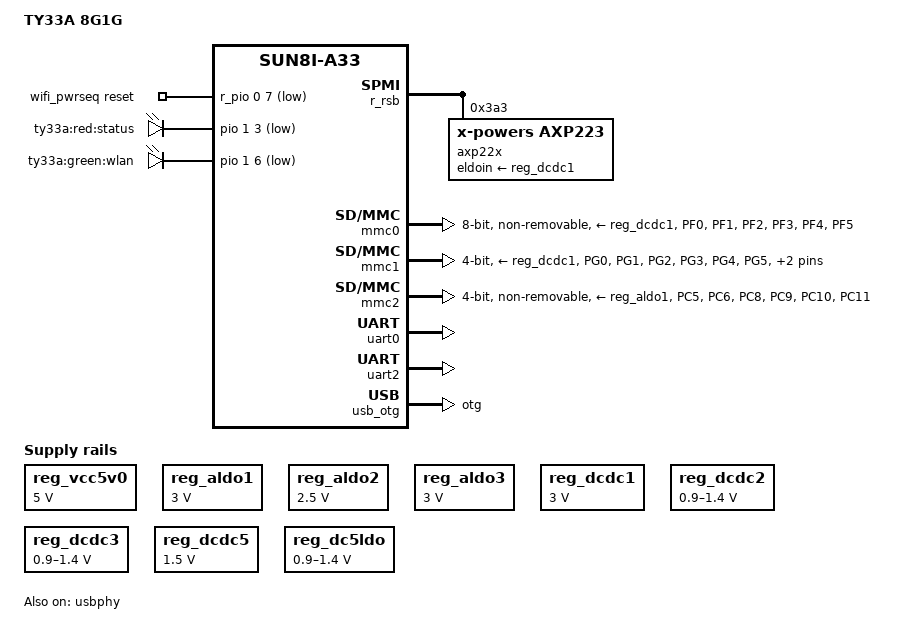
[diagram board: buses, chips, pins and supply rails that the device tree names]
/dts-v1/;
#include "sun8i-a33.dtsi"
#include <dt-bindings/gpio/gpio.h>

/ {
	model = "TY33A 8G1G";
	compatible = "sinovoip,bananapi-m2m", "allwinner,sun8i-a33";

	aliases {
		serial0 = &uart0;
		serial1 = &uart1;
		serial2 = &uart2;

		i2c0 = &i2c0;
		i2c1 = &i2c1;
		i2c2 = &i2c2;
	};

	chosen { stdout-path = "serial0:115200n8"; };

	/* 5‑V rail for USB‑A port */
	reg_vcc5v0: vcc5v0 {
		compatible = "regulator-fixed";
		regulator-name = "vcc5v0";
		regulator-min-microvolt = <5000000>;
		regulator-max-microvolt = <5000000>;
		regulator-always-on;
	};

	/* Wi‑Fi / BT reset (PL7) */
	wifi_pwrseq: wifi_pwrseq {
		compatible = "mmc-pwrseq-simple";
		reset-gpios = <&r_pio 0 7 GPIO_ACTIVE_LOW>; /* PL7 */
		post-power-on-delay-ms = <200>;   /* Some Realtek modules need up to 200ms before SDIO responds */
	};

	leds {
		compatible = "gpio-leds";

		led_red {
			label  = "ty33a:red:status";
			gpios  = <&pio 1 3 GPIO_ACTIVE_LOW>;  /* PB3 */
			linux,default-trigger = "heartbeat";
		};

		led_green {
			label  = "ty33a:green:wlan";
			gpios  = <&pio 1 6 GPIO_ACTIVE_LOW>;  /* PB6 */
			linux,default-trigger = "phy0tx";
		};
	};
};

/* --------------------------------------------------------------------- */

&pio {
	mmc0_pins: mmc0-pins {
		pins = "PF0","PF1","PF2","PF3","PF4","PF5";
		function = "mmc0";
	};

	mmc1_pins: mmc1-pins {
		pins = "PG0","PG1","PG2","PG3","PG4","PG5";
		function = "mmc1";
	};

	mmc1_cd_pin: mmc1-cd-pin {
		pins = "PB4";
		function = "gpio_in";
	};

	mmc2_pins: mmc2-pins {
		pins = "PC5","PC6","PC8","PC9","PC10","PC11";
		function = "mmc2";
	};
};

/* --------------------------------------------------------------------- */

&cpu0 { cpu-supply = <&reg_dcdc3>; };

/* PMIC on the R‑RSB bus */
&r_rsb {
	status = "okay";

	axp22x: pmic@3a3 {
		compatible = "x-powers,axp223";
		reg = <0x3a3>;
		interrupt-parent = <&nmi_intc>;
		interrupts = <0 IRQ_TYPE_LEVEL_LOW>;
		eldoin-supply = <&reg_dcdc1>;
		x-powers,drive-vbus-en;
	};
};

#include "axp223.dtsi"

/* -------- fixed regulator names / voltages --------------------------- */

&reg_aldo1  { regulator-name = "vcc-io";   regulator-min-microvolt = <3000000>; regulator-max-microvolt = <3000000>; regulator-always-on; };
&reg_aldo2  { regulator-name = "vdd-dll";  regulator-min-microvolt = <2500000>; regulator-max-microvolt = <2500000>; regulator-always-on; };
&reg_aldo3  { regulator-name = "avcc";     regulator-min-microvolt = <3000000>; regulator-max-microvolt = <3000000>; regulator-always-on; };
&reg_dcdc1  { regulator-name = "vcc-3v0";  regulator-min-microvolt = <3000000>; regulator-max-microvolt = <3000000>; regulator-always-on; };
&reg_dcdc2  { regulator-name = "vdd-sys";  regulator-min-microvolt = < 900000>; regulator-max-microvolt = <1400000>; regulator-always-on; };
&reg_dcdc3  { regulator-name = "vdd-cpu";  regulator-min-microvolt = < 900000>; regulator-max-microvolt = <1400000>; regulator-always-on; };
&reg_dcdc5  { regulator-name = "vcc-dram"; regulator-min-microvolt = <1500000>; regulator-max-microvolt = <1500000>; regulator-always-on; };
&reg_dc5ldo { regulator-name = "vdd-cpus"; regulator-min-microvolt = < 900000>; regulator-max-microvolt = <1400000>; regulator-always-on; };
&reg_drivevbus { regulator-name = "usb0-vbus"; regulator-always-on; status = "okay"; };
&reg_rtc_ldo { regulator-name = "vcc-rtc"; };

/* --------------------------------------------------------------------- */
/* Storage                                                               */

&mmc0 { /* eMMC on PF0-PF5 */
	pinctrl-names = "default";
	pinctrl-0 = <&mmc0_pins>;
	vmmc-supply = <&reg_dcdc1>;
	bus-width = <8>;
	non-removable;
	status = "okay";
};

&mmc1 { /* µSD on PG0-PG5 */
	pinctrl-names = "default";
	pinctrl-0 = <&mmc1_pins &mmc1_cd_pin>;
	vmmc-supply = <&reg_dcdc1>;
	bus-width = <4>;
	cd-gpios = <&pio 1 4 GPIO_ACTIVE_LOW>; /* PB4 */
	status = "okay";
};

&mmc2 { /* Wi‑Fi (RTL8723CS) on PC pins */
	pinctrl-names = "default";
	pinctrl-0 = <&mmc2_pins>;
	vmmc-supply = <&reg_aldo1>;
	vqmmc-supply = <&reg_aldo1>;
	mmc-pwrseq = <&wifi_pwrseq>;
	bus-width = <4>;
	non-removable;
	status = "okay";
};

/* --------------------------------------------------------------------- */
/* UARTs                                                                 */

&uart0 { status = "okay"; };  /* debug console */
&uart1 { status = "disabled"; };
&uart2 { status = "okay"; };

/* --------------------------------------------------------------------- */
/* USB                                                                   */

&usb_otg { dr_mode = "otg"; status = "okay"; };

&usbphy {
	usb0_id_det-gpios      = <&pio 7 8 GPIO_ACTIVE_HIGH>; /* PH8 */
	usb0_vbus_power-supply = <&usb_power_supply>; /* label from axp22x.dtsi */
	usb0_vbus-supply       = <&reg_drivevbus>;
	usb1_vbus-supply       = <&reg_vcc5v0>;
	status = "okay";
};
